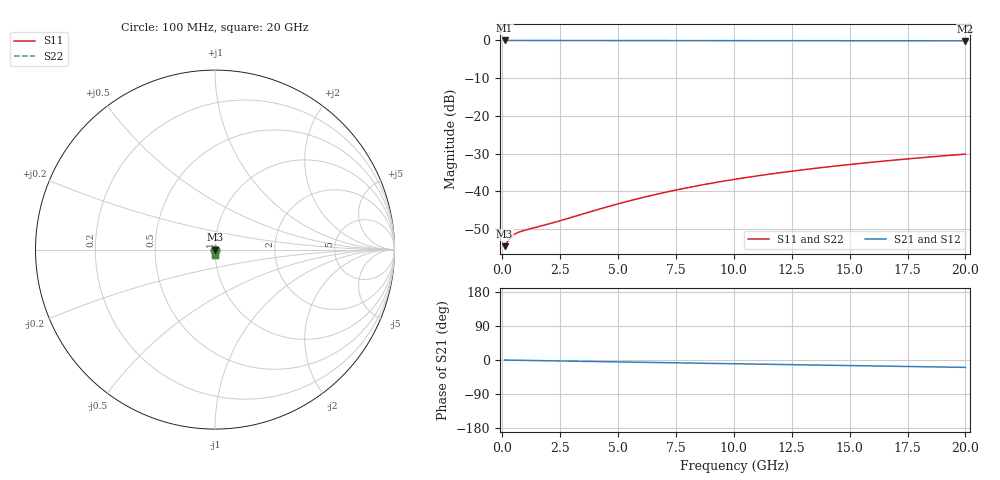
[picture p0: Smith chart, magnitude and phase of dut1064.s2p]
! Touchstone file exported from HFSS 2026.1.0
!  File:  C:/ffzhzh/LocalFiles/Ansys_Project_Files/temp_train_BSMRDL_1064_1783174160_55132.aedt
!  Generated:  10:10:31 PM Jul  4, 2026
!  Design:  BSMRDL
!  Project:  temp_train_BSMRDL_1064_1783174160_55132
! Variables:
!  h_bsmrdl = 4.26um
!  h_ox = 20um
!  h_rdl = 5um
!  h_sub = 80um
!  h_tmrdl = 5um
!  h_tsv = 80um
!  h_via = 3um
!  l_bsmrdl = 346.34um
!  l_sub = 746.34um
!  l_tmrdl = 200um
!  m_sub = 200um
!  pitch = 20.72um
!  r_tsv = 6um
!  s_tmrdl = 10um
!  w_bsmrdl = 17.53um
!  w_sub = 500um
!  w_tmrdl = 12um
!  x_tsv_center1 = 206um
!  x_tsv_center2 = 569.87um
!  x_tsv_center3 = 781.87um
!  x_tsv_center4 = 1145.74um
!  x_tsv_center5 = 1357.74um
!  x_tsv_center6 = 1721.61um
# GHz S MA R 50.000000
! Terminal data exported
! Port[1] = BSM_RDL1_1_T1
! Port[2] = BSM_RDL1_1_T2
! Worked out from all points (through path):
!   200 points, 100 MHz to 20 GHz, reference 50 ohm
!   highest |S21| = -0.02 dB at 100 MHz (marker M1); lowest = -0.1 dB at 20 GHz (marker M2)
!   group delay of S21, straight-line fit = 2.69 ps
!   lowest |S11| = -54.6 dB at 100 MHz (marker M3), VSWR 1.00, Z = 50.2 + j0.0262 ohm
!   |S11| at or under -10 dB: start of sweep to end of sweep
!   |S22| runs from -54.6 to -30.2 dB; largest |S21 - S12| = 5.1e-15
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0.1  0.001867 8.0  0.9982 -0.1  0.9982 -0.1  0.001867 8.0
! Gamma 0 0 0 0
! Port Impedance 50 0 50 0
0.3  0.002321 11.6  0.9977 -0.3  0.9977 -0.3  0.00232 11.6
0.4  0.002508 9.9  0.9975 -0.4  0.9975 -0.4  0.002508 9.9
0.5  0.002652 7.5  0.9974 -0.6  0.9974 -0.6  0.002652 7.5
0.6  0.002764 5.2  0.9972 -0.7  0.9972 -0.7  0.002764 5.2
0.7  0.002853 2.9  0.9971 -0.8  0.9971 -0.8  0.002853 2.9
1  0.003057 -3.2  0.9969 -1.1  0.9969 -1.1  0.003057 -3.2
2.3  0.003901 -20.7  0.9963 -2.4  0.9963 -2.4  0.003901 -20.7
3.5  0.005013 -31.4  0.9956 -3.6  0.9956 -3.6  0.005013 -31.4
4.4  0.006041 -37.7  0.9949 -4.5  0.9949 -4.5  0.00604 -37.7
5.2  0.007062 -42.6  0.9944 -5.3  0.9944 -5.3  0.007061 -42.6
6  0.008161 -46.8  0.9938 -6.0  0.9938 -6.0  0.00816 -46.8
6.8  0.009321 -50.6  0.9932 -6.8  0.9932 -6.8  0.009319 -50.6
7.6  0.01053 -54.1  0.9927 -7.6  0.9927 -7.6  0.01052 -54.1
8.4  0.01177 -57.2  0.9922 -8.4  0.9922 -8.4  0.01177 -57.2
10.1  0.01449 -63.0  0.9912 -10.0  0.9912 -10.0  0.01448 -63.1
11.7  0.01711 -67.7  0.9903 -11.6  0.9903 -11.6  0.0171 -67.8
13.4  0.01993 -72.1  0.9894 -13.2  0.9894 -13.2  0.01993 -72.1
15  0.02262 -75.7  0.9887 -14.7  0.9887 -14.7  0.02261 -75.7
16.7  0.02548 -79.2  0.9879 -16.3  0.9879 -16.3  0.02547 -79.2
18.3  0.02818 -82.2  0.9872 -17.9  0.9872 -17.9  0.02817 -82.3
20  0.03105 -85.2  0.9865 -19.5  0.9865 -19.5  0.03104 -85.2
